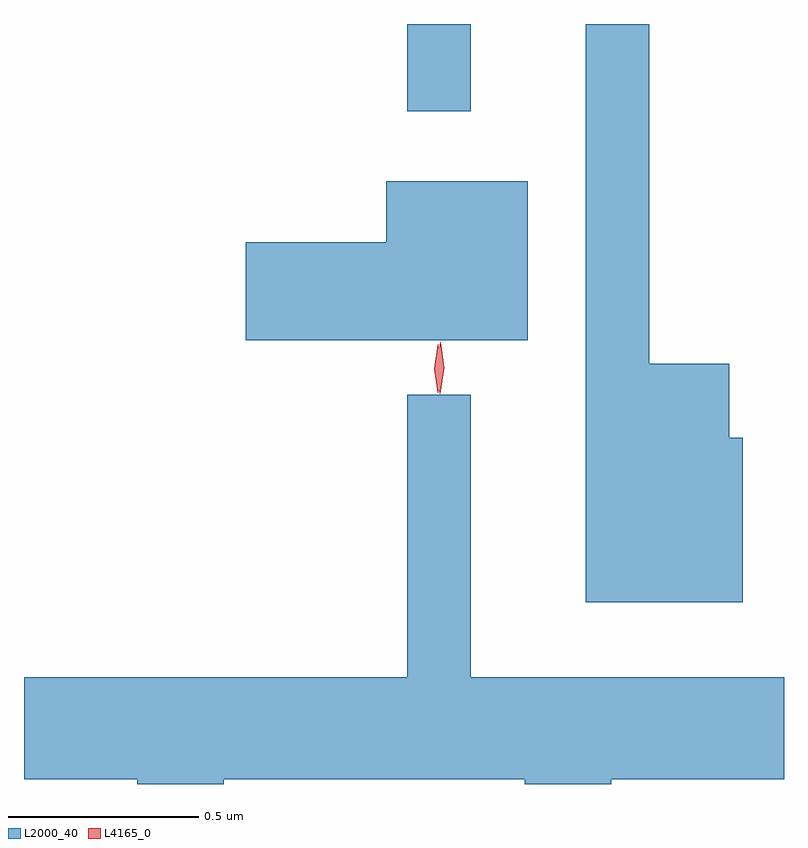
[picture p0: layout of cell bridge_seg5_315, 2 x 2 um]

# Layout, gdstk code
import gdstk
lib = gdstk.Library(unit=1e-6, precision=1e-09)
def R(c, l, rs):  # rectangles x0, y0, x1, y1
    for r in rs: c.add(gdstk.rectangle(r[:2], r[2:], *l))
def P(c, l, *ps):  # polygons
    for p in ps: c.add(gdstk.Polygon(p, *l))
L2000_40 = (2000, 40)
L4165_0 = (4165, 0)

bridge_seg5_315 = lib.new_cell('bridge_seg5_315')
R(bridge_seg5_315, L2000_40, [(809.571,1516.273,809.739,1516.503)])
P(bridge_seg5_315, L2000_40, [(810.454,1515.414),(810.419,1515.414),(810.419,1515.609),(810.209,1515.609),(810.209,1516.503),(810.041,1516.503),(810.041,1514.981),(810.454,1514.981)],
  [(809.889,1516.089),(809.516,1516.089),(809.516,1515.929),(809.146,1515.929),(809.146,1515.671),(809.889,1515.671)],
  [(809.089,1514.516),(809.881,1514.516),(809.881,1514.503),(810.109,1514.503),(810.109,1514.516),(810.563,1514.516),(810.563,1514.784),(809.739,1514.784),(809.739,1515.528),(809.571,1515.528),(809.571,1514.784),(808.563,1514.784),(808.563,1514.516),(808.861,1514.516),(808.861,1514.503),(809.089,1514.503)])
P(bridge_seg5_315, L4165_0, [(809.657,1515.53),(809.649,1515.598),(809.659,1515.666),(809.66,1515.666),(809.66,1515.666),(809.669,1515.598),(809.658,1515.53),(809.658,1515.53)],
  [(809.652,1515.533),(809.643,1515.596),(809.652,1515.659),(809.653,1515.66),(809.653,1515.659),(809.663,1515.596),(809.653,1515.533),(809.653,1515.533)])

lib.write_gds('bridge_seg5_315.gds')
